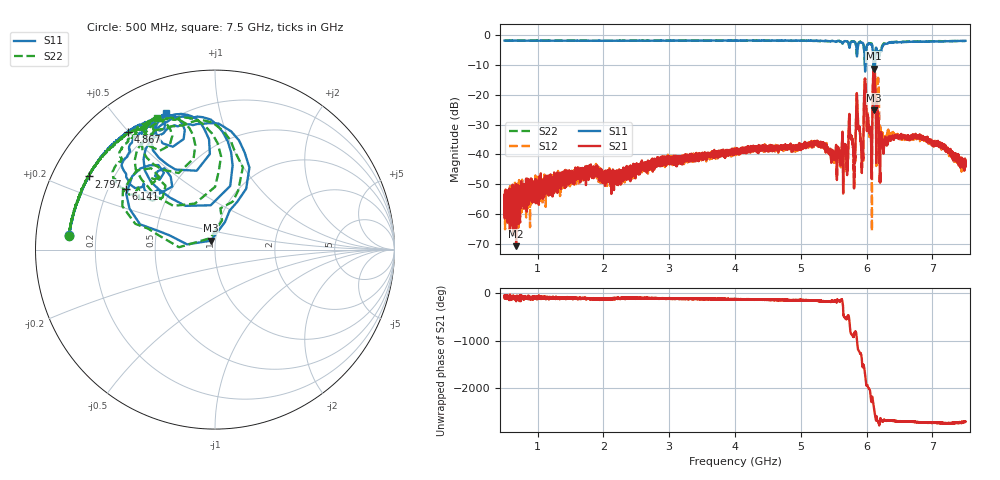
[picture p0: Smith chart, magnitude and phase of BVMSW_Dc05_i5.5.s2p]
!Keysight Technologies,M9374A,MY55442783,A.12.55.05
!Date: Thursday, May 20, 2021 19:09:20
!Correction: S11(Full 2 Port(1,2))
!S21(Full 2 Port(1,2))
!S12(Full 2 Port(1,2))
!S22(Full 2 Port(1,2))
!S2P File: Measurements: S11, S21, S12, S22:
# Hz S  RI  R 50
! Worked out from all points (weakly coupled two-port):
!   7001 points, 500 MHz to 7.5 GHz, reference 50 ohm
!   highest |S21| = -11.15 dB at 6.108 GHz (marker M1); lowest = -70.9 dB at 675 MHz (marker M2)
!   lowest |S11| = -25.2 dB at 6.116 GHz (marker M3), VSWR 1.12, Z = 47.5 + j4.73 ohm
!   |S11| at or under -10 dB: 5.97323 GHz to 5.980851 GHz (7.621 MHz wide, 0.127 % of centre); 6.103193 GHz to 6.127239 GHz (24.05 MHz wide, 0.393 % of centre)
!   |S22| runs from -24.9 to -1.7 dB; largest |S21 - S12| = 0.23
!   S11 on the Smith chart (normalised r, x): 500 MHz: 0.10, +0.05; 2.797 GHz: 0.11, +0.27; 4.867 GHz: 0.13, +0.50; 6.141 GHz: 0.27, +0.29; 7.5 GHz: 0.16, +0.69
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5e8  -0.8134 0.0795  0.000688 -0.00096  -0.000461 -0.00168  -0.8157 0.0761
6.75e8  -0.8091 0.1077  -0.000286 -1.89e-05  -0.000599 -0.00118  -0.8116 0.0988
1.667e9  -0.7706 0.2538  -0.00251 -0.00414  -0.00249 -0.00405  -0.7783 0.2359
2.797e9  -0.7047 0.4075  -0.00216 -0.00678  -0.00354 -0.00746  -0.7194 0.3831
2.834e9  -0.7015 0.411  -0.00291 -0.00615  -0.00334 -0.00612  -0.7164 0.3907
4e9  -0.5968 0.5596  -0.00703 -0.00827  -0.00768 -0.00852  -0.6186 0.5269
4.867e9  -0.4862 0.6535  -0.0112 -0.00425  -0.0104 -0.00491  -0.5204 0.616
5.167e9  -0.4336 0.6877  -0.013 -0.0067  -0.0128 -0.00477  -0.4843 0.6517
5.676e9  -0.3035 0.7412  -0.0125 -0.00247  -0.012 -0.00183  -0.3731 0.7122
5.758e9  -0.329 0.6824  -0.00968 -0.0178  -0.00903 -0.0173  -0.391 0.661
5.798e9  -0.2397 0.75  -0.0113 0.00228  -0.00922 0.00348  -0.315 0.7228
5.866e9  -0.3313 0.5318  0.00525 -0.0425  0.0115 -0.0414  -0.3939 0.5317
5.922e9  -0.1722 0.7399  -0.00578 0.01  -0.00513 0.00916  -0.2534 0.7262
5.989e9  -0.3197 0.3399  0.044 -0.1096  0.0404 -0.1039  -0.3794 0.3599
6.053e9  -0.1735 0.6961  -0.00253 0.0285  0.00105 0.0237  -0.2403 0.6839
6.108e9  0.0819 0.2179  -0.2031 0.1886  -0.1634 0.2413  0.0302 0.2299
6.116e9  -0.0236 0.0497  0.1479 0.1972  0.1511 0.2552  -0.0256 0.0642
6.141e9  -0.4985 0.3401  -0.0296 -0.0267  -0.07 -0.00152  -0.5002 0.3652
6.225e9  -0.452 0.3487  -0.0128 -0.0103  -0.0061 -0.0174  -0.509 0.3286
6.334e9  -0.4741 0.5795  -0.0162 -0.00951  -0.0194 -0.0119  -0.5288 0.5495
6.828e9  -0.3499 0.6967  -0.0181 0.0013  -0.0189 0.00225  -0.4092 0.6713
7.5e9  -0.2729 0.7621  -0.00648 -0.0011  -0.00684 -0.000545  -0.3244 0.7354
